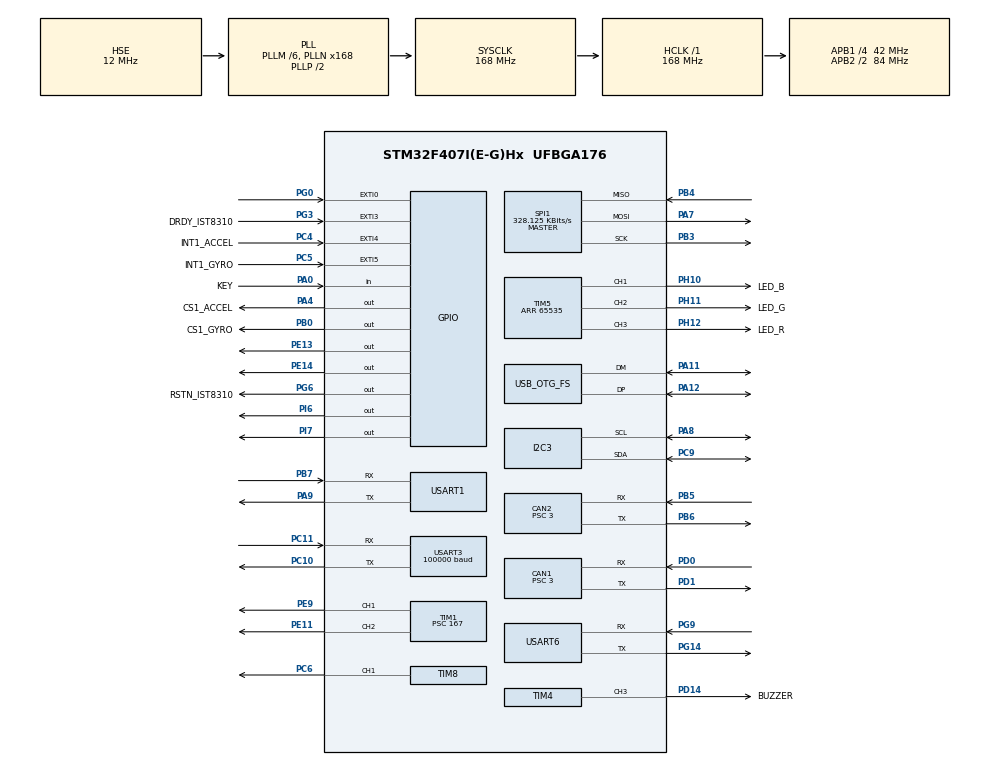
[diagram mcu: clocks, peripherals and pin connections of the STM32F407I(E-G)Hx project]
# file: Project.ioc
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CAN1.BS1=CAN_BS1_10TQ
CAN1.BS2=CAN_BS2_3TQ
CAN1.CalculateBaudRate=1000000
CAN1.CalculateTimeBit=1000
CAN1.CalculateTimeQuantum=71.42857142857143
CAN1.Prescaler=3
CAN2.BS1=CAN_BS1_10TQ
CAN2.BS2=CAN_BS2_3TQ
CAN2.CalculateBaudRate=1000000
CAN2.CalculateTimeBit=1000
CAN2.CalculateTimeQuantum=71.42857142857143
CAN2.Prescaler=3
Dma.Request0=SPI1_RX
Dma.Request1=SPI1_TX
Dma.Request2=USART1_TX
Dma.Request3=USART3_RX
Dma.Request4=USART6_RX
Dma.Request5=USART6_TX
Dma.SPI1_RX.0.Direction=DMA_PERIPH_TO_MEMORY
Dma.SPI1_RX.0.FIFOMode=DMA_FIFOMODE_DISABLE
Dma.SPI1_RX.0.Instance=DMA2_Stream2
Dma.SPI1_RX.0.MemDataAlignment=DMA_MDATAALIGN_BYTE
Dma.SPI1_RX.0.MemInc=DMA_MINC_ENABLE
Dma.SPI1_RX.0.Mode=DMA_NORMAL
Dma.SPI1_RX.0.PeriphDataAlignment=DMA_PDATAALIGN_BYTE
Dma.SPI1_RX.0.PeriphInc=DMA_PINC_DISABLE
Dma.SPI1_RX.0.Priority=DMA_PRIORITY_VERY_HIGH
Dma.SPI1_TX.1.Direction=DMA_MEMORY_TO_PERIPH
Dma.SPI1_TX.1.FIFOMode=DMA_FIFOMODE_DISABLE
Dma.SPI1_TX.1.Instance=DMA2_Stream3
Dma.SPI1_TX.1.MemDataAlignment=DMA_MDATAALIGN_BYTE
Dma.SPI1_TX.1.MemInc=DMA_MINC_ENABLE
Dma.SPI1_TX.1.Mode=DMA_NORMAL
Dma.SPI1_TX.1.PeriphDataAlignment=DMA_PDATAALIGN_BYTE
Dma.SPI1_TX.1.PeriphInc=DMA_PINC_DISABLE
Dma.SPI1_TX.1.Priority=DMA_PRIORITY_HIGH
Dma.USART1_TX.2.Direction=DMA_MEMORY_TO_PERIPH
Dma.USART1_TX.2.FIFOMode=DMA_FIFOMODE_DISABLE
Dma.USART1_TX.2.Instance=DMA2_Stream7
Dma.USART1_TX.2.MemDataAlignment=DMA_MDATAALIGN_BYTE
Dma.USART1_TX.2.MemInc=DMA_MINC_ENABLE
Dma.USART1_TX.2.Mode=DMA_NORMAL
Dma.USART1_TX.2.PeriphDataAlignment=DMA_PDATAALIGN_BYTE
Dma.USART1_TX.2.PeriphInc=DMA_PINC_DISABLE
Dma.USART1_TX.2.Priority=DMA_PRIORITY_MEDIUM
Dma.USART3_RX.3.Direction=DMA_PERIPH_TO_MEMORY
Dma.USART3_RX.3.FIFOMode=DMA_FIFOMODE_DISABLE
Dma.USART3_RX.3.Instance=DMA1_Stream1
Dma.USART3_RX.3.MemDataAlignment=DMA_MDATAALIGN_BYTE
Dma.USART3_RX.3.MemInc=DMA_MINC_ENABLE
Dma.USART3_RX.3.Mode=DMA_NORMAL
Dma.USART3_RX.3.PeriphDataAlignment=DMA_PDATAALIGN_BYTE
Dma.USART3_RX.3.PeriphInc=DMA_PINC_DISABLE
Dma.USART3_RX.3.Priority=DMA_PRIORITY_HIGH
Dma.USART6_RX.4.Direction=DMA_PERIPH_TO_MEMORY
Dma.USART6_RX.4.FIFOMode=DMA_FIFOMODE_DISABLE
Dma.USART6_RX.4.Instance=DMA2_Stream1
Dma.USART6_RX.4.MemDataAlignment=DMA_MDATAALIGN_BYTE
Dma.USART6_RX.4.MemInc=DMA_MINC_ENABLE
Dma.USART6_RX.4.Mode=DMA_NORMAL
Dma.USART6_RX.4.PeriphDataAlignment=DMA_PDATAALIGN_BYTE
Dma.USART6_RX.4.PeriphInc=DMA_PINC_DISABLE
Dma.USART6_RX.4.Priority=DMA_PRIORITY_LOW
Dma.USART6_TX.5.Direction=DMA_MEMORY_TO_PERIPH
Dma.USART6_TX.5.FIFOMode=DMA_FIFOMODE_DISABLE
Dma.USART6_TX.5.Instance=DMA2_Stream6
Dma.USART6_TX.5.MemDataAlignment=DMA_MDATAALIGN_BYTE
Dma.USART6_TX.5.MemInc=DMA_MINC_ENABLE
Dma.USART6_TX.5.Mode=DMA_NORMAL
Dma.USART6_TX.5.PeriphDataAlignment=DMA_PDATAALIGN_BYTE
Dma.USART6_TX.5.PeriphInc=DMA_PINC_DISABLE
Dma.USART6_TX.5.Priority=DMA_PRIORITY_LOW
FREERTOS.INCLUDE_eTaskGetState=1
FREERTOS.INCLUDE_pcTaskGetTaskName=1
FREERTOS.INCLUDE_uxTaskGetStackHighWaterMark=1
FREERTOS.INCLUDE_uxTaskGetStackHighWaterMark2=1
FREERTOS.INCLUDE_vTaskCleanUpResources=1
FREERTOS.INCLUDE_vTaskDelayUntil=1
FREERTOS.INCLUDE_xQueueGetMutexHolder=1
FREERTOS.INCLUDE_xSemaphoreGetMutexHolder=1
FREERTOS.INCLUDE_xTaskAbortDelay=1
FREERTOS.INCLUDE_xTaskGetCurrentTaskHandle=1
FREERTOS.INCLUDE_xTaskGetHandle=1
FREERTOS.Tasks01=imuTask,3,1024,INS_task,As weak,NULL,Dynamic,NULL,NULL;testTask,0,256,test_task,As weak,NULL,Dynamic,NULL,NULL;buzzerTask,0,128,buzzer_task,As weak,NULL,Dynamic,NULL,NULL;ledTask,0,128,led_task,As weak,NULL,Dynamic,NULL,NULL;usbTask,0,128,usb_task,As weak,NULL,Dynamic,NULL,NULL;detectTask,0,256,detect_task,As weak,NULL,Dynamic,NULL,NULL;keyTask,0,128,key_task,As weak,NULL,Dynamic,NULL,NULL;transformTask,0,256,transform_task,As weak,NULL,Dynamic,NULL,NULL;carTask,0,256,car_task,As weak,NULL,Dynamic,NULL,NULL;servoRxTask,0,128,servo_receive_task,As weak,NULL,Dynamic,NULL,NULL
I2C3.I2C_Mode=I2C_Fast
Mcu.Family=STM32F4
Mcu.Name=STM32F407I(E-G)Hx
Mcu.Package=UFBGA176
NVIC.CAN1_RX0_IRQn=true\:6\:0\:true\:false\:true\:true\:true\:true\:true
NVIC.CAN2_RX0_IRQn=true\:6\:0\:true\:false\:true\:true\:true\:true\:true
NVIC.DMA1_Stream1_IRQn=true\:5\:0\:false\:false\:false\:true\:false\:true\:true
NVIC.DMA2_Stream1_IRQn=true\:5\:0\:false\:false\:true\:true\:false\:true\:true
NVIC.DMA2_Stream2_IRQn=true\:5\:0\:false\:false\:false\:true\:false\:true\:true
NVIC.DMA2_Stream3_IRQn=true\:5\:0\:false\:false\:false\:true\:false\:true\:true
NVIC.DMA2_Stream6_IRQn=true\:5\:0\:false\:false\:true\:true\:false\:true\:true
NVIC.DMA2_Stream7_IRQn=true\:5\:0\:false\:false\:true\:true\:false\:true\:true
NVIC.EXTI0_IRQn=true\:6\:0\:true\:false\:true\:true\:true\:true\:true
NVIC.EXTI3_IRQn=true\:5\:0\:false\:false\:true\:true\:true\:true\:true
NVIC.EXTI4_IRQn=true\:5\:0\:false\:false\:true\:true\:true\:true\:true
NVIC.EXTI9_5_IRQn=true\:5\:0\:false\:false\:true\:true\:true\:true\:true
NVIC.OTG_FS_IRQn=true\:5\:0\:false\:false\:true\:true\:true\:true\:true
NVIC.PriorityGroup=NVIC_PRIORITYGROUP_4
NVIC.TIM6_DAC_IRQn=true\:15\:0\:false\:false\:true\:false\:false\:true\:true
NVIC.TimeBase=TIM6_DAC_IRQn
NVIC.TimeBaseIP=TIM6
NVIC.USART3_IRQn=true\:4\:0\:true\:false\:false\:false\:true\:true\:true
NVIC.USART6_IRQn=true\:5\:0\:false\:false\:false\:true\:true\:true\:true
PA0-WKUP.GPIO_Label=KEY
PA0-WKUP.GPIO_PuPd=GPIO_PULLUP
PA0-WKUP.Signal=GPIO_Input
PA11.Mode=Device_Only
PA11.Signal=USB_OTG_FS_DM
PA12.Mode=Device_Only
PA12.Signal=USB_OTG_FS_DP
PA13.Mode=Serial_Wire
PA13.Signal=SYS_JTMS-SWDIO
PA14.Mode=Serial_Wire
PA14.Signal=SYS_JTCK-SWCLK
PA4.GPIO_Label=CS1_ACCEL
PA4.GPIO_PuPd=GPIO_PULLUP
PA4.GPIO_Speed=GPIO_SPEED_FREQ_HIGH
PA4.PinState=GPIO_PIN_SET
PA4.Signal=GPIO_Output
PA7.GPIO_PuPd=GPIO_PULLUP
PA7.Mode=Full_Duplex_Master
PA7.Signal=SPI1_MOSI
PA8.GPIO_Pu=GPIO_PULLUP
PA8.Mode=I2C
PA8.Signal=I2C3_SCL
PA9.GPIO_ModeDefaultPP=GPIO_MODE_AF_PP
PA9.GPIO_PuPd=GPIO_PULLUP
PA9.Mode=Asynchronous
PA9.Signal=USART1_TX
PB0.GPIO_Label=CS1_GYRO
PB0.GPIO_PuPd=GPIO_PULLUP
PB0.GPIO_Speed=GPIO_SPEED_FREQ_HIGH
PB0.PinState=GPIO_PIN_SET
PB0.Signal=GPIO_Output
PB3.GPIO_PuPd=GPIO_PULLUP
PB3.Mode=Full_Duplex_Master
PB3.Signal=SPI1_SCK
PB4.GPIO_PuPd=GPIO_PULLUP
PB4.Mode=Full_Duplex_Master
PB4.Signal=SPI1_MISO
PB5.Mode=CAN_Activate
PB5.Signal=CAN2_RX
PB6.Mode=CAN_Activate
PB6.Signal=CAN2_TX
PB7.GPIO_PuPd=GPIO_PULLUP
PB7.Mode=Asynchronous
PB7.Signal=USART1_RX
PC10.Mode=Asynchronous
PC10.Signal=USART3_TX
PC11.Mode=Asynchronous
PC11.Signal=USART3_RX
PC4.GPIO_Label=INT1_ACCEL
PC4.GPIO_PuPd=GPIO_PULLUP
PC4.Signal=GPXTI4
PC5.GPIO_Label=INT1_GYRO
PC5.GPIO_PuPd=GPIO_PULLUP
PC5.Signal=GPXTI5
PC6.GPIO_PuPd=GPIO_PULLUP
PC6.GPIO_Speed=GPIO_SPEED_FREQ_HIGH
PC6.Signal=S_TIM8_CH1
PC9.GPIO_Pu=GPIO_PULLUP
PC9.Mode=I2C
PC9.Signal=I2C3_SDA
PD0.Mode=CAN_Activate
PD0.Signal=CAN1_RX
PD1.Mode=CAN_Activate
PD1.Signal=CAN1_TX
PD14.GPIO_Label=BUZZER
PD14.GPIO_PuPd=GPIO_PULLUP
PD14.GPIO_Speed=GPIO_SPEED_FREQ_VERY_HIGH
PD14.Signal=S_TIM4_CH3
PE11.GPIO_PuPd=GPIO_PULLUP
PE11.GPIO_Speed=GPIO_SPEED_FREQ_HIGH
PE11.Signal=S_TIM1_CH2
PE13.GPIO_ModeDefaultOutputPP=GPIO_MODE_OUTPUT_PP
PE13.GPIO_PuPd=GPIO_PULLUP
PE13.GPIO_Speed=GPIO_SPEED_FREQ_HIGH
PE13.PinState=GPIO_PIN_SET
PE13.Signal=GPIO_Output
PE14.GPIO_ModeDefaultOutputPP=GPIO_MODE_OUTPUT_PP
PE14.GPIO_PuPd=GPIO_PULLUP
PE14.GPIO_Speed=GPIO_SPEED_FREQ_HIGH
PE14.PinState=GPIO_PIN_SET
PE14.Signal=GPIO_Output
PE9.GPIO_PuPd=GPIO_PULLUP
PE9.GPIO_Speed=GPIO_SPEED_FREQ_HIGH
PE9.Signal=S_TIM1_CH1
PG0.GPIO_ModeDefaultEXTI=GPIO_MODE_IT_FALLING
PG0.GPIO_PuPd=GPIO_PULLUP
PG0.Signal=GPXTI0
PG14.GPIO_PuPd=GPIO_PULLUP
PG14.Mode=Asynchronous
PG14.Signal=USART6_TX
PG3.GPIO_Label=DRDY_IST8310
PG3.GPIO_ModeDefaultEXTI=GPIO_MODE_IT_FALLING
PG3.GPIO_PuPd=GPIO_PULLUP
PG3.Signal=GPXTI3
PG6.GPIO_Label=RSTN_IST8310
PG6.GPIO_PuPd=GPIO_PULLUP
PG6.GPIO_Speed=GPIO_SPEED_FREQ_MEDIUM
PG6.PinState=GPIO_PIN_SET
PG6.Signal=GPIO_Output
PG9.GPIO_PuPd=GPIO_PULLUP
PG9.Mode=Asynchronous
PG9.Signal=USART6_RX
PH0-OSC_IN.Mode=HSE-External-Oscillator
PH0-OSC_IN.Signal=RCC_OSC_IN
PH1-OSC_OUT.Mode=HSE-External-Oscillator
PH1-OSC_OUT.Signal=RCC_OSC_OUT
PH10.GPIO_Label=LED_B
PH10.GPIO_PuPd=GPIO_PULLUP
PH10.GPIO_Speed=GPIO_SPEED_FREQ_HIGH
PH10.Signal=S_TIM5_CH1
PH11.GPIO_Label=LED_G
PH11.GPIO_PuPd=GPIO_PULLUP
PH11.GPIO_Speed=GPIO_SPEED_FREQ_HIGH
PH11.Signal=S_TIM5_CH2
PH12.GPIO_Label=LED_R
PH12.GPIO_PuPd=GPIO_PULLUP
PH12.GPIO_Speed=GPIO_SPEED_FREQ_HIGH
PH12.Signal=S_TIM5_CH3
PI6.GPIO_PuPd=GPIO_PULLUP
PI6.GPIO_Speed=GPIO_SPEED_FREQ_VERY_HIGH
PI6.PinState=GPIO_PIN_SET
PI6.Signal=GPIO_Output
PI7.GPIO_PuPd=GPIO_PULLUP
PI7.GPIO_Speed=GPIO_SPEED_FREQ_VERY_HIGH
PI7.PinState=GPIO_PIN_SET
PI7.Signal=GPIO_Output
ProjectManager.HeapSize=0x200
ProjectManager.StackSize=0x400
ProjectManager.TargetToolchain=MDK-ARM V5
RCC.48MHZClocksFreq_Value=48000000
RCC.AHBFreq_Value=168000000
RCC.APB1CLKDivider=RCC_HCLK_DIV4
RCC.APB1Freq_Value=42000000
RCC.APB1TimFreq_Value=84000000
RCC.APB2CLKDivider=RCC_HCLK_DIV2
RCC.APB2Freq_Value=84000000
RCC.APB2TimFreq_Value=168000000
RCC.CortexFreq_Value=168000000
RCC.HCLKFreq_Value=168000000
RCC.HSE_VALUE=12000000
RCC.HSI_VALUE=16000000
RCC.LSE_VALUE=32768
RCC.PLLM=6
RCC.PLLN=168
RCC.PLLQ=7
RCC.SYSCLKFreq_VALUE=168000000
RCC.SYSCLKSource=RCC_SYSCLKSOURCE_PLLCLK
RCC.VCOOutputFreq_Value=336000000
SH.S_TIM1_CH1.0=TIM1_CH1,PWM Generation1 CH1
SH.S_TIM1_CH2.0=TIM1_CH2,PWM Generation2 CH2
SH.S_TIM4_CH3.0=TIM4_CH3,PWM Generation3 CH3
SH.S_TIM5_CH1.0=TIM5_CH1,PWM Generation1 CH1
SH.S_TIM5_CH2.0=TIM5_CH2,PWM Generation2 CH2
SH.S_TIM5_CH3.0=TIM5_CH3,PWM Generation3 CH3
SH.S_TIM8_CH1.0=TIM8_CH1,PWM Generation1 CH1
SPI1.BaudRatePrescaler=SPI_BAUDRATEPRESCALER_256
SPI1.CLKPhase=SPI_PHASE_2EDGE
SPI1.CLKPolarity=SPI_POLARITY_HIGH
SPI1.CalculateBaudRate=328.125 KBits/s
SPI1.Direction=SPI_DIRECTION_2LINES
SPI1.Mode=SPI_MODE_MASTER
SPI1.VirtualType=VM_MASTER
TIM1.Channel-PWM\ Generation1\ CH1=TIM_CHANNEL_1
TIM1.Channel-PWM\ Generation2\ CH2=TIM_CHANNEL_2
TIM1.Period=19999
TIM1.Prescaler=167
TIM4.Channel-PWM\ Generation3\ CH3=TIM_CHANNEL_3
TIM4.Period=65535
TIM4.Prescaler=167
TIM5.Channel-PWM\ Generation1\ CH1=TIM_CHANNEL_1
TIM5.Channel-PWM\ Generation2\ CH2=TIM_CHANNEL_2
TIM5.Channel-PWM\ Generation3\ CH3=TIM_CHANNEL_3
TIM5.Period=65535
TIM5.Pulse-PWM\ Generation1\ CH1=10000
TIM5.Pulse-PWM\ Generation2\ CH2=10000
TIM5.Pulse-PWM\ Generation3\ CH3=10000
TIM8.Channel-PWM\ Generation1\ CH1=TIM_CHANNEL_1
USART1.VirtualMode=VM_ASYNC
USART3.BaudRate=100000
USART3.Parity=PARITY_EVEN
USART3.VirtualMode=VM_ASYNC
USART6.VirtualMode=VM_ASYNC
USB_DEVICE.CLASS_NAME_FS=CDC
USB_DEVICE.VirtualMode-CDC_FS=Cdc
USB_DEVICE.VirtualModeFS=Cdc_FS
USB_OTG_FS.VirtualMode=Device_Only
VP_FREERTOS_VS_CMSIS_V1.Mode=CMSIS_V1
VP_SYS_VS_tim6.Mode=TIM6
VP_TIM1_VS_ClockSourceINT.Mode=Internal
VP_TIM4_VS_ClockSourceINT.Mode=Internal
VP_TIM5_VS_ClockSourceINT.Mode=Internal
VP_TIM8_VS_ClockSourceINT.Mode=Internal
VP_USB_DEVICE_VS_USB_DEVICE_CDC_FS.Mode=CDC_FS
board=custom

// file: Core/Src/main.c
/* USER CODE BEGIN Header */
/**
  ******************************************************************************
  * @file           : main.c
  * @brief          : Main program body
  ******************************************************************************
  * @attention
  *
  * Copyright (c) 2025 STMicroelectronics.
  * All rights reserved.
  *
  * This software is licensed under terms that can be found in the LICENSE file
  * in the root directory of this software component.
  * If no LICENSE file comes with this software, it is provided AS-IS.
  *
  ******************************************************************************
  */
/* USER CODE END Header */
#include "main.h"
#include "cmsis_os.h"
#include "can.h"
#include "dma.h"
#include "i2c.h"
#include "spi.h"
#include "tim.h"
#include "usart.h"
#include "usb_device.h"
#include "gpio.h"

/* USER CODE BEGIN Includes */

#include "remote_receive.h"
#include "bsp_usart.h"
#include "bsp_can.h"

/* USER CODE END Includes */

void SystemClock_Config(void);
void MX_FREERTOS_Init(void);

int main(void)
{

  /* MCU Configuration--------------------------------------------------------*/

  /* Reset of all peripherals, Initializes the Flash interface and the Systick. */
  HAL_Init();

  /* Configure the system clock */
  SystemClock_Config();

  /* Initialize all configured peripherals */
  MX_GPIO_Init();
  MX_DMA_Init();
  MX_SPI1_Init();
  MX_I2C3_Init();
  MX_USART3_UART_Init();
  MX_TIM4_Init();
  MX_CAN1_Init();
  MX_CAN2_Init();
  MX_USART1_UART_Init();
  MX_TIM5_Init();
  MX_TIM8_Init();
  MX_USART6_UART_Init();
  MX_TIM1_Init();
  /* USER CODE BEGIN 2 */
    HAL_TIM_Base_Start(&htim4);
    HAL_TIM_PWM_Start(&htim4, TIM_CHANNEL_3);
	HAL_TIM_Base_Start(&htim5);
    HAL_TIM_PWM_Start(&htim5, TIM_CHANNEL_1);
	HAL_TIM_PWM_Start(&htim5, TIM_CHANNEL_2);
	HAL_TIM_PWM_Start(&htim5, TIM_CHANNEL_3);

    HAL_TIM_Base_Start(&htim1);
    HAL_TIM_PWM_Start(&htim1, TIM_CHANNEL_1);
    HAL_TIM_PWM_Start(&htim1, TIM_CHANNEL_2);
	HAL_TIM_Base_Start(&htim8);
    HAL_TIM_PWM_Start(&htim8, TIM_CHANNEL_1);

    remote_receive_init();
    usart1_tx_dma_init();
	can_filter_init();
  /* USER CODE END 2 */

  /* Call init function for freertos objects (in cmsis_os2.c) */
  MX_FREERTOS_Init();

  /* Start scheduler */
  osKernelStart();

  /* We should never get here as control is now taken by the scheduler */

  /* Infinite loop */
  while (1)
  {

  }
}

void SystemClock_Config(void)
{
  RCC_OscInitTypeDef RCC_OscInitStruct = {0};
  RCC_ClkInitTypeDef RCC_ClkInitStruct = {0};

  /** Configure the main internal regulator output voltage
  */
  __HAL_RCC_PWR_CLK_ENABLE();
  __HAL_PWR_VOLTAGESCALING_CONFIG(PWR_REGULATOR_VOLTAGE_SCALE1);

  /** Initializes the RCC Oscillators according to the specified parameters
  * in the RCC_OscInitTypeDef structure.
  */
  RCC_OscInitStruct.OscillatorType = RCC_OSCILLATORTYPE_HSE;
  RCC_OscInitStruct.HSEState = RCC_HSE_ON;
  RCC_OscInitStruct.PLL.PLLState = RCC_PLL_ON;
  RCC_OscInitStruct.PLL.PLLSource = RCC_PLLSOURCE_HSE;
  RCC_OscInitStruct.PLL.PLLM = 6;
  RCC_OscInitStruct.PLL.PLLN = 168;
  RCC_OscInitStruct.PLL.PLLP = RCC_PLLP_DIV2;
  RCC_OscInitStruct.PLL.PLLQ = 7;
  if (HAL_RCC_OscConfig(&RCC_OscInitStruct) != HAL_OK)
  {
    Error_Handler();
  }

  /** Initializes the CPU, AHB and APB buses clocks
  */
  RCC_ClkInitStruct.ClockType = RCC_CLOCKTYPE_HCLK|RCC_CLOCKTYPE_SYSCLK
                              |RCC_CLOCKTYPE_PCLK1|RCC_CLOCKTYPE_PCLK2;
  RCC_ClkInitStruct.SYSCLKSource = RCC_SYSCLKSOURCE_PLLCLK;
  RCC_ClkInitStruct.AHBCLKDivider = RCC_SYSCLK_DIV1;
  RCC_ClkInitStruct.APB1CLKDivider = RCC_HCLK_DIV4;
  RCC_ClkInitStruct.APB2CLKDivider = RCC_HCLK_DIV2;

  if (HAL_RCC_ClockConfig(&RCC_ClkInitStruct, FLASH_LATENCY_5) != HAL_OK)
  {
    Error_Handler();
  }
}

void HAL_TIM_PeriodElapsedCallback(TIM_HandleTypeDef *htim)
{
  if (htim->Instance == TIM6)
  {
    HAL_IncTick();
  }
}

void Error_Handler(void)
{
  __disable_irq();
  while (1)
  {
  }
}

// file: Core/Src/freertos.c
/* USER CODE BEGIN Header */
/**
  ******************************************************************************
  * File Name          : freertos.c
  * Description        : Code for freertos applications
  ******************************************************************************
  * @attention
  *
  * Copyright (c) 2025 STMicroelectronics.
  * All rights reserved.
  *
  * This software is licensed under terms that can be found in the LICENSE file
  * in the root directory of this software component.
  * If no LICENSE file comes with this software, it is provided AS-IS.
  *
  ******************************************************************************
  */
/* USER CODE END Header */

#include "FreeRTOS.h"
#include "task.h"
#include "main.h"
#include "cmsis_os.h"

osThreadId imuTaskHandle;
osThreadId testTaskHandle;
osThreadId buzzerTaskHandle;
osThreadId ledTaskHandle;
osThreadId usbTaskHandle;
osThreadId detectTaskHandle;
osThreadId keyTaskHandle;
osThreadId transformTaskHandle;
osThreadId carTaskHandle;
osThreadId servoRxTaskHandle;

void INS_task(void const * argument);
void test_task(void const * argument);
void buzzer_task(void const * argument);
void led_task(void const * argument);
void usb_task(void const * argument);
void detect_task(void const * argument);
void key_task(void const * argument);
void transform_task(void const * argument);
void car_task(void const * argument);
void servo_receive_task(void const * argument);

extern void MX_USB_DEVICE_Init(void);
void MX_FREERTOS_Init(void); /* (MISRA C 2004 rule 8.1) */

/* GetIdleTaskMemory prototype (linked to static allocation support) */
void vApplicationGetIdleTaskMemory( StaticTask_t **ppxIdleTaskTCBBuffer, StackType_t **ppxIdleTaskStackBuffer, uint32_t *pulIdleTaskStackSize );

/* USER CODE BEGIN GET_IDLE_TASK_MEMORY */
static StaticTask_t xIdleTaskTCBBuffer;
static StackType_t xIdleStack[configMINIMAL_STACK_SIZE];

void vApplicationGetIdleTaskMemory( StaticTask_t **ppxIdleTaskTCBBuffer, StackType_t **ppxIdleTaskStackBuffer, uint32_t *pulIdleTaskStackSize )
{
  *ppxIdleTaskTCBBuffer = &xIdleTaskTCBBuffer;
  *ppxIdleTaskStackBuffer = &xIdleStack[0];
  *pulIdleTaskStackSize = configMINIMAL_STACK_SIZE;
  /* place for user code */
}
/* USER CODE END GET_IDLE_TASK_MEMORY */

void MX_FREERTOS_Init(void) {

  /* Create the thread(s) */
  /* definition and creation of imuTask */
  osThreadDef(imuTask, INS_task, osPriorityRealtime, 0, 1024);
  imuTaskHandle = osThreadCreate(osThread(imuTask), NULL);

  /* definition and creation of testTask */
  osThreadDef(testTask, test_task, osPriorityNormal, 0, 256);
  testTaskHandle = osThreadCreate(osThread(testTask), NULL);

  /* definition and creation of buzzerTask */
  osThreadDef(buzzerTask, buzzer_task, osPriorityNormal, 0, 128);
  buzzerTaskHandle = osThreadCreate(osThread(buzzerTask), NULL);

  /* definition and creation of ledTask */
  osThreadDef(ledTask, led_task, osPriorityNormal, 0, 128);
  ledTaskHandle = osThreadCreate(osThread(ledTask), NULL);

  /* definition and creation of usbTask */
  osThreadDef(usbTask, usb_task, osPriorityNormal, 0, 128);
  usbTaskHandle = osThreadCreate(osThread(usbTask), NULL);

  /* definition and creation of detectTask */
  osThreadDef(detectTask, detect_task, osPriorityNormal, 0, 256);
  detectTaskHandle = osThreadCreate(osThread(detectTask), NULL);

  /* definition and creation of keyTask */
  osThreadDef(keyTask, key_task, osPriorityNormal, 0, 128);
  keyTaskHandle = osThreadCreate(osThread(keyTask), NULL);

  /* definition and creation of transformTask */
  osThreadDef(transformTask, transform_task, osPriorityNormal, 0, 256);
  transformTaskHandle = osThreadCreate(osThread(transformTask), NULL);

  /* definition and creation of carTask */
  osThreadDef(carTask, car_task, osPriorityNormal, 0, 256);
  carTaskHandle = osThreadCreate(osThread(carTask), NULL);

  /* definition and creation of servoRxTask */
  osThreadDef(servoRxTask, servo_receive_task, osPriorityNormal, 0, 128);
  servoRxTaskHandle = osThreadCreate(osThread(servoRxTask), NULL);

}

__weak void INS_task(void const * argument)
{
  /* init code for USB_DEVICE */
  MX_USB_DEVICE_Init();
  for(;;)
  {
    osDelay(1);
  }
}

__weak void test_task(void const * argument)
{
  for(;;)
  {
    osDelay(1);
  }
}

__weak void buzzer_task(void const * argument)
{
  for(;;)
  {
    osDelay(1);
  }
}

__weak void led_task(void const * argument)
{
  for(;;)
  {
    osDelay(1);
  }
}

__weak void usb_task(void const * argument)
{
  for(;;)
  {
    osDelay(1);
  }
}

__weak void detect_task(void const * argument)
{
  for(;;)
  {
    osDelay(1);
  }
}

__weak void key_task(void const * argument)
{
  for(;;)
  {
    osDelay(1);
  }
}

__weak void transform_task(void const * argument)
{
  for(;;)
  {
    osDelay(1);
  }
}

__weak void car_task(void const * argument)
{
  for(;;)
  {
    osDelay(1);
  }
}

__weak void servo_receive_task(void const * argument)
{
  for(;;)
  {
    osDelay(1);
  }
}
